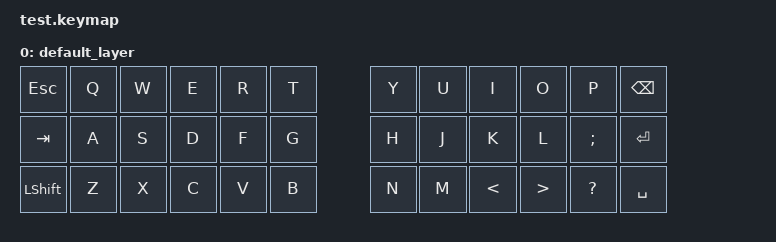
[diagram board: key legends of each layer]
#include <behaviors.dtsi>
#include <dt-bindings/zmk/keys.h>
#include "../../../zephyr/lib/libc/minimal/include/stdint.h"
#include <device.h>
#include <drivers/display.h>
#include <zmk/event_manager.h>
#include <zmk/events/layer_state_changed.h>

static const struct device *display_dev;

void update_display(const char *message) {
    if (display_dev == NULL) {
        printk("Display device not found\n");
        return;
    }

    display_set_pixel_format(display_dev, PIXEL_FORMAT_MONO10);
    display_blanking_off(display_dev);

    struct display_buffer_descriptor buf_desc = {
        .buf_size = 128 * 64 / 8,
        .width = 128,
        .height = 64,
        .pitch = 128,
    };

    uint8_t buf[128 * 64 / 8] = {0};

    // Here you would update the buffer with your message or pattern
    // Example: Clear the buffer
    memset(buf, 0, sizeof(buf));

    // Example: Fill the buffer with 0xFF to turn all pixels on
    // memset(buf, 0xFF, sizeof(buf));

    // Example: Display a message (this is simplified and assumes a specific font and layout)
    // You need to create the actual byte pattern for your message

    display_write(display_dev, 0, 0, &buf_desc, buf);
}

static int layer_state_changed_listener(const zmk_event_t *eh) {
    struct zmk_layer_state_changed *ev = as_zmk_layer_state_changed(eh);
    char msg[64];
    snprintf(msg, sizeof(msg), "Layer: %d", ev->layer);
    update_display(msg);
    return ZMK_EV_EVENT_BUBBLE;
}

ZMK_LISTENER(display_listener, layer_state_changed_listener);
ZMK_SUBSCRIPTION(display_listener, zmk_layer_state_changed);

void main(void) {
    display_dev = device_get_binding("SSD1306");

    if (display_dev == NULL) {
        printk("Display device not found\n");
        return;
    }

    // Initialize the display with a welcome message
    update_display("Welcome");
}

/ {
    keymap {
        compatible = "zmk,keymap";

        default_layer {
// -------------------------------------------------------------         -------------------------------------------------------------
// |   ESC   |    Q    |    W    |    E    |    R    |    T    |         |    Y    |    U    |    I    |    O    |    P    |    <-   |
// |   TAB   |    A    |    S    |    D    |    F    |    G    |         |    H    |    J    |    K    |    L    |    ;    |  ENTER  |
// |  SHIFT  |    Z    |    X    |    C    |    V    |    B    |         |    N    |    M    |    <    |    >    |    ?    |    FN   |
// -------------------------------------------------------------         -------------------------------------------------------------

            bindings = <

    &kp ESC     &kp Q     &kp W     &kp E     &kp R     &kp T               &kp Y     &kp U     &kp I     &kp O    &kp P     &kp BKSP
    &kp TAB     &kp A     &kp S     &kp D     &kp F     &kp G               &kp H     &kp J     &kp K     &kp L    &kp SEMI  &kp RET
    &kp LSHIFT  &kp Z     &kp X     &kp C     &kp V     &kp B               &kp N     &kp M     &kp LT    &kp GT   &kp QMARK &kp SPC

            >;
        };
    };
};
